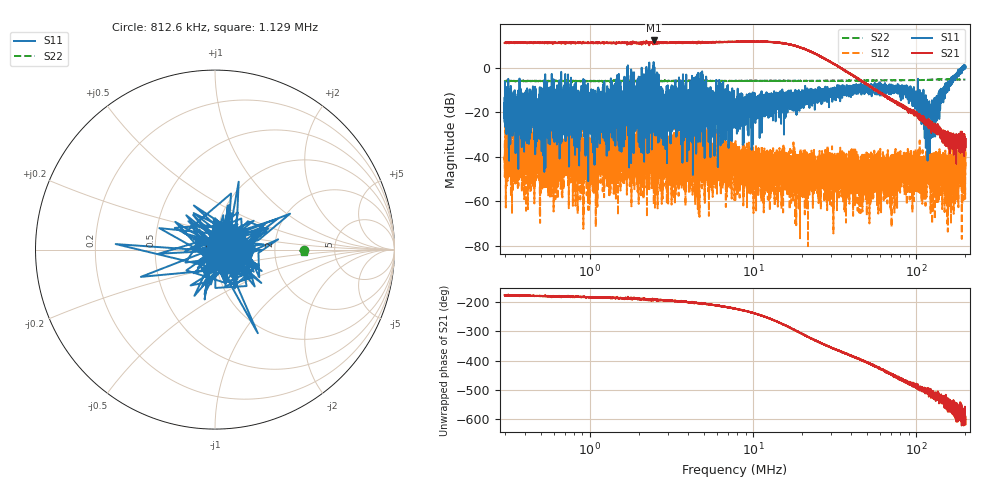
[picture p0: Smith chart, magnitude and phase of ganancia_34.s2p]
# Hz S DB R 50
! CMT, M5065, 19127446, 24.2.4/2
! Date: 11/1/2024 3:33:03 PM
! Data: Format (Calibration Info)
! Freq	S11:dB/Ang(F2)	S21:dB/Ang(F2)	S12:dB/Ang(F2)	S22:dB/Ang(F2)
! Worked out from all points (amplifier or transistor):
!   9000 points, 300 kHz to 200 MHz, reference 50 ohm
!   highest |S21| = 12.2 dB at 2.456 MHz (marker M1)
!   |S21| within 3 dB of that: start of sweep to 19.15 MHz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
!   unconditionally stable (mu >= 1): start of sweep to 1.691 MHz; 2.483 MHz to 190.2 MHz; 192.1756 MHz to 192.9356 MHz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
!   at 886.8 kHz: K = 7.39, MAG = 12.3 dB, |S12| = -37.0 dB
!   at 7.749 MHz: K = 9.98, MAG = 12.8 dB, |S12| = -40.1 dB
!   at 200 MHz: K = 130.68, MAG = -17.0 dB, |S12| = -46.4 dB
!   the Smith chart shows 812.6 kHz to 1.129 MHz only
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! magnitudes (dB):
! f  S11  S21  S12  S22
! 300 kHz  -23.9  11.1  -42.8  -6.0
! 311 kHz  -12.4  11.0  -39.8  -6.1
! 438.4 kHz  -18.3  11.0  -42.6  -6.0
! 468.9 kHz  -23.0  11.2  -48.9  -6.1
! 581.5 kHz  -13.2  11.0  -57.8  -6.1
! 886.8 kHz  -19.0  11.1  -37.0  -6.1
! 2.129 MHz  -4.0  11.7  -59.1  -6.0
! 2.456 MHz  2.4  12.2  -43.2  -6.1
! 2.621 MHz  -17.5  11.2  -48.5  -6.0
! 2.842 MHz  -16.7  11.0  -40.5  -6.0
! 3.249 MHz  -16.2  11.0  -49.0  -6.0
! 3.864 MHz  -28.0  11.3  -39.3  -6.0
! 4.669 MHz  -23.4  11.3  -46.3  -6.0
! 7.749 MHz  -20.7  11.6  -40.1  -6.1
! 22.91 MHz  -13.1  6.9  -44.5  -6.0
! 37.38 MHz  -9.5  -1.9  -39.7  -5.9
! 67.71 MHz  -9.1  -13.9  -44.0  -5.7
! 90.99 MHz  -13.9  -18.7  -41.4  -5.7
! 107.7 MHz  -25.4  -23.1  -49.4  -5.6
! 120.3 MHz  -26.4  -24.8  -52.3  -5.5
! 150.2 MHz  -8.3  -32.3  -41.1  -5.3
! 200 MHz  -0.2  -32.1  -46.4  -5.4
